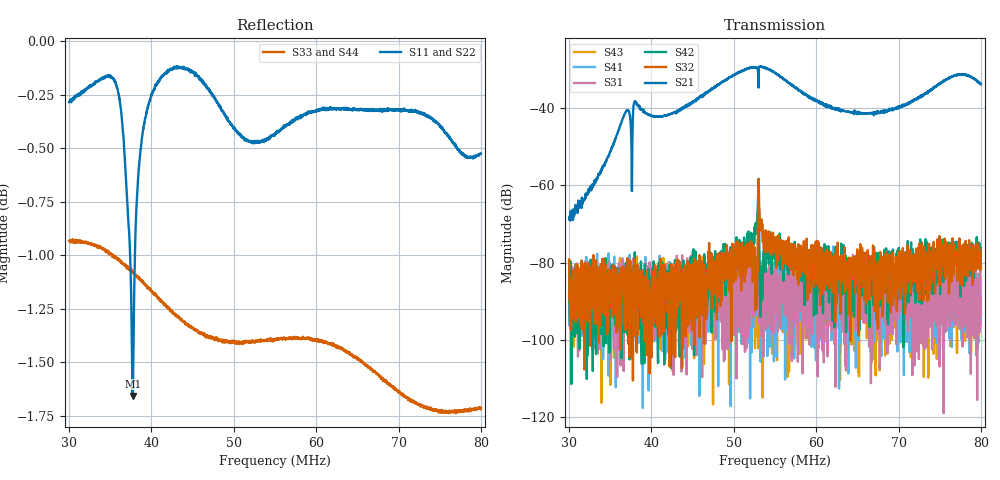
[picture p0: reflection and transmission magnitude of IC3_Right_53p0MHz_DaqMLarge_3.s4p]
#  HZ  S  DB  R  50.00
! Rohde & Schwarz Vector Network Analyzer
! Rohde-Schwarz,ZNB8-4Port,1311601044102961,2.82
! Created: UTC 2/12/2019, 2:11:29 PM
! freq[Hz]  db:S11  ang:S11  db:S12  ang:S12  db:S13  ang:S13  db:S14  ang:S14
!  db:S21  ang:S21  db:S22  ang:S22  db:S23  ang:S23  db:S24  ang:S24
!  db:S31  ang:S31  db:S32  ang:S32  db:S33  ang:S33  db:S34  ang:S34
!  db:S41  ang:S41  db:S42  ang:S42  db:S43  ang:S43  db:S44  ang:S44
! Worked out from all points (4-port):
!   2001 points, 30 MHz to 80 MHz, reference 50 ohm
!   strongest paths, dB at 30 MHz, 42.5 MHz, 55 MHz, 67.5 MHz, 80 MHz:
!     S21: -68.8, -41.5, -30.9, -40.8, -33.9
!     S32: -79.2, -85.7, -75.7, -97.0, -81.2
!     S42: -87.3, -88.5, -77.6, -79.5, -79.5
!     S31: -89.0, -84.3, -86.9, -83.9, -91.7
!     S41: -90.4, -80.6, -93.7, -85.1, -90.0
!     S43: -83.4, -91.2, -87.3, -89.4, -88.5
!   lowest |S11| = -1.7 dB at 37.73 MHz (marker M1), VSWR 10.52, Z = 45.7 - j140 ohm
!   |S11| at or under -10 dB: nowhere
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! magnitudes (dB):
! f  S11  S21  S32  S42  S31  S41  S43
! 30 MHz  -0.3  -68.8  -79.2  -87.3  -89.0  -90.4  -83.4
! 37.73 MHz  -1.7  -43.6  -88.7  -82.7  -93.0  -86.8  -86.2
! 52.6 MHz  -0.5  -29.5  -82.9  -71.8  -85.3  -90.8  -82.7
! 53.17 MHz  -0.5  -29.3  -68.7  -88.3  -83.3  -84.8  -80.3
! 57.02 MHz  -0.4  -34.1  -79.1  -76.8  -95.5  -86.8  -84.8
! 65.1 MHz  -0.3  -41.1  -83.6  -86.7  -85.3  -83.1  -108.2
! 80 MHz  -0.5  -33.9  -81.2  -79.5  -91.7  -90.0  -88.5
